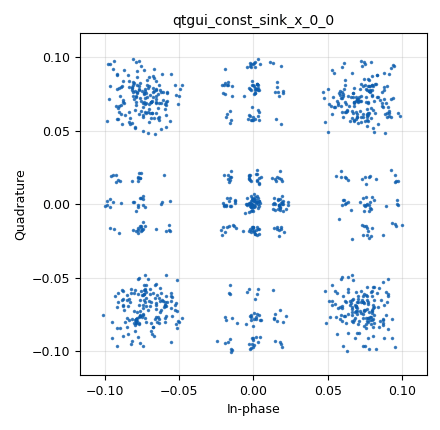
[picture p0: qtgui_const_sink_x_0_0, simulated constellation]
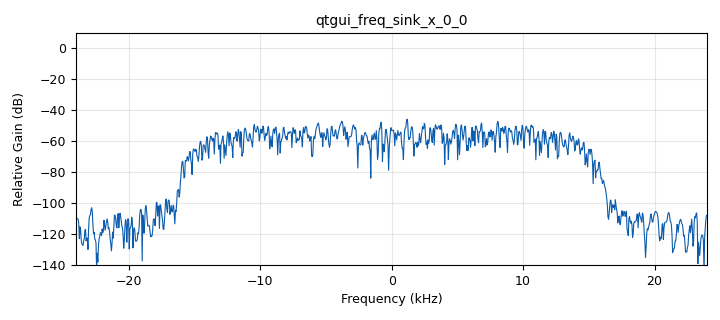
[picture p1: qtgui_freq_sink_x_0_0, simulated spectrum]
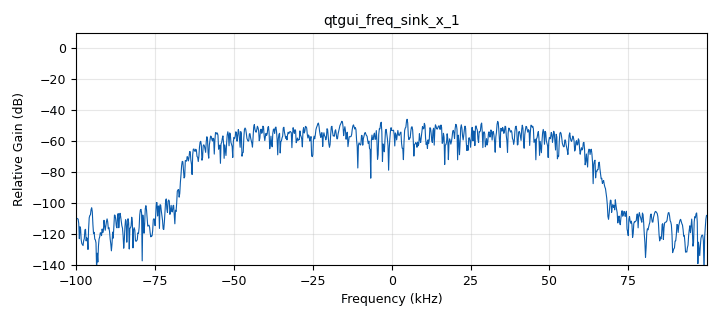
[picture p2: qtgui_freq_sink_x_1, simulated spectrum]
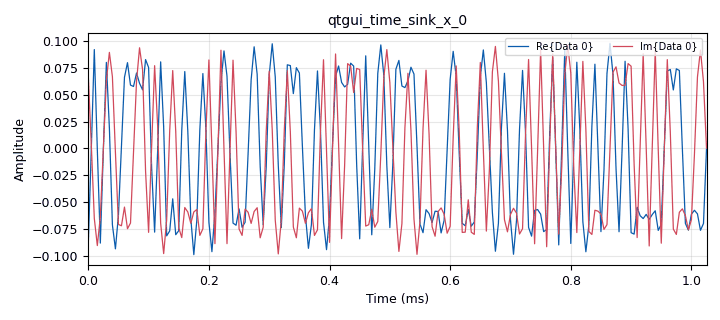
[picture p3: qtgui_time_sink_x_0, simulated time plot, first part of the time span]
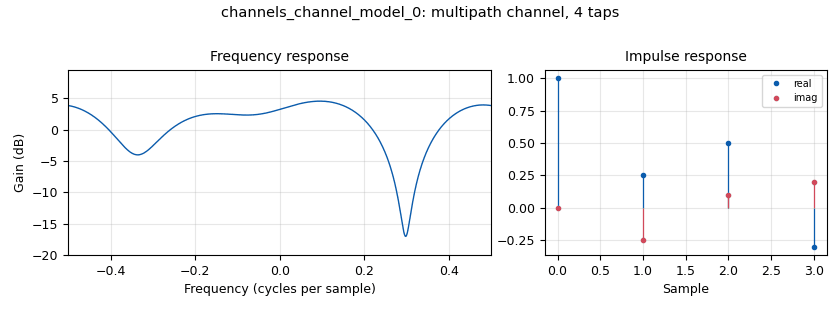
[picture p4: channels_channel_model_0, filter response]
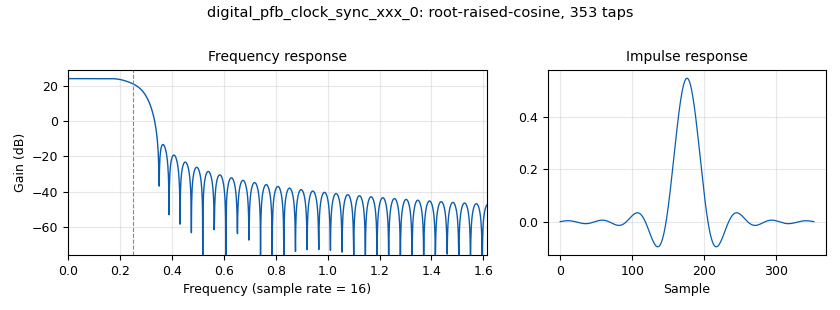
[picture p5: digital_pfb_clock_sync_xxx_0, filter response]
<?xml version='1.0' encoding='utf-8'?>
<?grc format='1' created='3.7.11'?>
<flow_graph>
<block>
<key>options</key>
<param><key>id</key><value>transmitter</value></param>
<param><key>generate_options</key><value>qt_gui</value></param>
<param><key>qt_qss_theme</key><value>/home/ubuntu/Desktop/10_2017/alt.qss</value></param>
</block>
<block>
<key>variable_qtgui_chooser</key>
<param><key>id</key><value>TxAmplitude</value></param>
<param><key>value</key><value>0.1</value></param>
<param><key>gui_hint</key><value>1,0,1,1</value></param>
<param><key>label0</key><value>0.1</value></param>
<param><key>label1</key><value>0.05</value></param>
<param><key>label2</key><value>0.025</value></param>
<param><key>label3</key><value>0.0125</value></param>
<param><key>label4</key><value>0.00625</value></param>
<param><key>label</key><value>TxAmplitude</value></param>
<param><key>num_opts</key><value>5</value></param>
<param><key>option0</key><value>0.1</value></param>
<param><key>option1</key><value>0.05</value></param>
<param><key>option2</key><value>0.025</value></param>
<param><key>option3</key><value>0.0125</value></param>
<param><key>option4</key><value>0.00625</value></param>
<param><key>type</key><value>real</value></param>
</block>
<block>
<key>variable_qtgui_range</key>
<param><key>id</key><value>TxAmplitude</value></param>
<param><key>value</key><value>1</value></param>
<param><key>_enabled</key><value>0</value></param>
<param><key>label</key><value>TxAmplitude</value></param>
<param><key>orient</key><value>Qt.Horizontal</value></param>
<param><key>start</key><value>.1</value></param>
<param><key>step</key><value>.1</value></param>
<param><key>stop</key><value>1</value></param>
</block>
<block>
<key>variable_qtgui_range</key>
<param><key>id</key><value>anti_clipping</value></param>
<param><key>value</key><value>1</value></param>
<param><key>label</key><value>anti_clipping</value></param>
<param><key>orient</key><value>Qt.Horizontal</value></param>
<param><key>start</key><value>0</value></param>
<param><key>step</key><value>.1</value></param>
<param><key>stop</key><value>1</value></param>
</block>
<block>
<key>variable_qtgui_range</key>
<param><key>id</key><value>eq_gain</value></param>
<param><key>value</key><value>0.01</value></param>
<param><key>gui_hint</key><value>controls@1: 2,1,1,1</value></param>
<param><key>label</key><value>Equalizer: rate</value></param>
<param><key>orient</key><value>Qt.Horizontal</value></param>
<param><key>start</key><value>0.0</value></param>
<param><key>step</key><value>0.001</value></param>
<param><key>stop</key><value>0.1</value></param>
<param><key>widget</key><value>slider</value></param>
</block>
<block>
<key>variable</key>
<param><key>id</key><value>excess_bw</value></param>
<param><key>value</key><value>0.35</value></param>
</block>
<block>
<key>variable_qtgui_range</key>
<param><key>id</key><value>freq_offset</value></param>
<param><key>value</key><value>0</value></param>
<param><key>gui_hint</key><value>controls@0: 2,1,1,1</value></param>
<param><key>label</key><value>Frequency Offset</value></param>
<param><key>orient</key><value>Qt.Horizontal</value></param>
<param><key>start</key><value>-0.1</value></param>
<param><key>step</key><value>0.001</value></param>
<param><key>stop</key><value>0.1</value></param>
</block>
<block>
<key>variable_function_probe</key>
<param><key>id</key><value>function_probe</value></param>
<param><key>block_id</key><value>probe_signal</value></param>
<param><key>function_name</key><value>level</value></param>
<param><key>value</key><value>0</value></param>
<param><key>poll_rate</key><value>10</value></param>
</block>
<block>
<key>variable</key>
<param><key>id</key><value>nfilts</value></param>
<param><key>value</key><value>16</value></param>
</block>
<block>
<key>variable_qtgui_range</key>
<param><key>id</key><value>noise_volt</value></param>
<param><key>value</key><value>0.0001</value></param>
<param><key>gui_hint</key><value>controls@0: 2,0,1,1</value></param>
<param><key>label</key><value>Noise Voltage</value></param>
<param><key>orient</key><value>Qt.Vertical</value></param>
<param><key>start</key><value>0</value></param>
<param><key>step</key><value>0.01</value></param>
<param><key>stop</key><value>1</value></param>
</block>
<block>
<key>variable</key>
<param><key>id</key><value>order</value></param>
<param><key>value</key><value>4</value></param>
</block>
<block>
<key>variable_qtgui_range</key>
<param><key>id</key><value>phase_bw</value></param>
<param><key>value</key><value>6.28/100.0</value></param>
<param><key>gui_hint</key><value>controls@1: 2,2,1,1</value></param>
<param><key>label</key><value>Phase: Bandwidth</value></param>
<param><key>orient</key><value>Qt.Horizontal</value></param>
<param><key>start</key><value>0.0</value></param>
<param><key>step</key><value>0.01</value></param>
<param><key>stop</key><value>1.0</value></param>
<param><key>widget</key><value>slider</value></param>
</block>
<block>
<key>variable_constellation_rect</key>
<param><key>id</key><value>qpsk</value></param>
<param><key>const_points</key><value>[0.707+0.707j, -0.707+0.707j, -0.707-0.707j, 0.707-0.707j]</value></param>
<param><key>imag_sect</key><value>2</value></param>
<param><key>real_sect</key><value>2</value></param>
<param><key>rot_sym</key><value>4</value></param>
<param><key>sym_map</key><value>[0,1,2,3]</value></param>
<param><key>w_imag_sect</key><value>2</value></param>
<param><key>w_real_sect</key><value>2</value></param>
</block>
<block>
<key>variable_constellation_rect</key>
<param><key>id</key><value>qpsk_0</value></param>
<param><key>const_points</key><value>[1+0.0j, -1+0.0j, 0-1j, 0+1j]</value></param>
<param><key>imag_sect</key><value>2</value></param>
<param><key>real_sect</key><value>2</value></param>
<param><key>rot_sym</key><value>4</value></param>
<param><key>sym_map</key><value>[0,1,2,3]</value></param>
<param><key>w_imag_sect</key><value>2</value></param>
<param><key>w_real_sect</key><value>2</value></param>
</block>
<block>
<key>variable</key>
<param><key>id</key><value>rrc_taps</value></param>
<param><key>value</key><value>firdes.root_raised_cosine(nfilts, nfilts, 1.0/float(sps), 0.35, 11*sps*nfilts)</value></param>
</block>
<block>
<key>variable</key>
<param><key>id</key><value>samp_rate</value></param>
<param><key>value</key><value>200000</value></param>
</block>
<block>
<key>variable</key>
<param><key>id</key><value>sps</value></param>
<param><key>value</key><value>2</value></param>
</block>
<block>
<key>variable</key>
<param><key>id</key><value>taps</value></param>
<param><key>value</key><value>[1.0, 0.25-0.25j, 0.50 + 0.10j, -0.3 + 0.2j]</value></param>
</block>
<block>
<key>variable_qtgui_range</key>
<param><key>id</key><value>time_offset</value></param>
<param><key>value</key><value>1.00</value></param>
<param><key>gui_hint</key><value>controls@0: 2,2,1,1</value></param>
<param><key>label</key><value>Timing Offset</value></param>
<param><key>orient</key><value>Qt.Horizontal</value></param>
<param><key>start</key><value>0.899</value></param>
<param><key>step</key><value>0.0001</value></param>
<param><key>stop</key><value>1.101</value></param>
</block>
<block>
<key>variable_qtgui_range</key>
<param><key>id</key><value>timing_loop_bw</value></param>
<param><key>value</key><value>6.28/100.0</value></param>
<param><key>gui_hint</key><value>controls@1: 2,0,1,1</value></param>
<param><key>label</key><value>Time: BW</value></param>
<param><key>orient</key><value>Qt.Horizontal</value></param>
<param><key>start</key><value>0.0</value></param>
<param><key>step</key><value>0.01</value></param>
<param><key>stop</key><value>0.2</value></param>
<param><key>widget</key><value>slider</value></param>
</block>
<block>
<key>MPOWER_power_ff</key>
<param><key>id</key><value>MPOWER_power_ff_0</value></param>
<param><key>m</key><value>0.125</value></param>
</block>
<block>
<key>analog_const_source_x</key>
<param><key>id</key><value>analog_const_source_x_0</value></param>
<param><key>const</key><value>10000</value></param>
<param><key>type</key><value>complex</value></param>
</block>
<block>
<key>analog_const_source_x</key>
<param><key>id</key><value>analog_const_source_x_1</value></param>
<param><key>const</key><value>10000</value></param>
<param><key>type</key><value>float</value></param>
</block>
<block>
<key>analog_const_source_x</key>
<param><key>id</key><value>analog_const_source_x_1_0</value></param>
<param><key>const</key><value>10000</value></param>
<param><key>type</key><value>float</value></param>
</block>
<block>
<key>analog_random_source_x</key>
<param><key>id</key><value>analog_random_source_x_0</value></param>
<param><key>max</key><value>256</value></param>
<param><key>min</key><value>0</value></param>
<param><key>num_samps</key><value>1000</value></param>
<param><key>type</key><value>byte</value></param>
<param><key>repeat</key><value>True</value></param>
</block>
<block>
<key>audio_sink</key>
<param><key>id</key><value>audio_sink_1</value></param>
<param><key>_enabled</key><value>0</value></param>
<param><key>samp_rate</key><value>48000</value></param>
</block>
<block>
<key>blocks_add_xx</key>
<param><key>id</key><value>blocks_add_xx_0</value></param>
<param><key>type</key><value>float</value></param>
</block>
<block>
<key>blocks_complex_to_mag</key>
<param><key>id</key><value>blocks_complex_to_mag_0</value></param>
</block>
<block>
<key>blocks_complex_to_mag</key>
<param><key>id</key><value>blocks_complex_to_mag_1</value></param>
</block>
<block>
<key>blocks_complex_to_magphase</key>
<param><key>id</key><value>blocks_complex_to_magphase_0</value></param>
</block>
<block>
<key>blocks_divide_xx</key>
<param><key>id</key><value>blocks_divide_xx_0</value></param>
<param><key>type</key><value>complex</value></param>
</block>
<block>
<key>blocks_divide_xx</key>
<param><key>id</key><value>blocks_divide_xx_1</value></param>
<param><key>type</key><value>float</value></param>
</block>
<block>
<key>blocks_divide_xx</key>
<param><key>id</key><value>blocks_divide_xx_1_0</value></param>
<param><key>type</key><value>float</value></param>
</block>
<block>
<key>blocks_divide_xx</key>
<param><key>id</key><value>blocks_divide_xx_2</value></param>
<param><key>type</key><value>float</value></param>
</block>
<block>
<key>blocks_magphase_to_complex</key>
<param><key>id</key><value>blocks_magphase_to_complex_0</value></param>
</block>
<block>
<key>blocks_message_debug</key>
<param><key>id</key><value>blocks_message_debug_0</value></param>
<param><key>_enabled</key><value>0</value></param>
</block>
<block>
<key>blocks_moving_average_xx</key>
<param><key>id</key><value>blocks_moving_average_xx_0</value></param>
<param><key>length</key><value>10000</value></param>
<param><key>max_iter</key><value>4000</value></param>
<param><key>scale</key><value>1</value></param>
<param><key>type</key><value>complex</value></param>
</block>
<block>
<key>blocks_moving_average_xx</key>
<param><key>id</key><value>blocks_moving_average_xx_1</value></param>
<param><key>length</key><value>10000</value></param>
<param><key>max_iter</key><value>4000</value></param>
<param><key>scale</key><value>1</value></param>
<param><key>type</key><value>float</value></param>
</block>
<block>
<key>blocks_moving_average_xx</key>
<param><key>id</key><value>blocks_moving_average_xx_1_0</value></param>
<param><key>length</key><value>10000</value></param>
<param><key>max_iter</key><value>4000</value></param>
<param><key>scale</key><value>1</value></param>
<param><key>type</key><value>float</value></param>
</block>
<block>
<key>blocks_multiply_const_vxx</key>
<param><key>id</key><value>blocks_multiply_const_vxx_0</value></param>
<param><key>const</key><value>TxAmplitude</value></param>
<param><key>type</key><value>complex</value></param>
</block>
<block>
<key>blocks_multiply_const_vxx</key>
<param><key>id</key><value>blocks_multiply_const_vxx_0_0</value></param>
<param><key>const</key><value>0.125</value></param>
<param><key>type</key><value>float</value></param>
</block>
<block>
<key>blocks_multiply_const_vxx</key>
<param><key>id</key><value>blocks_multiply_const_vxx_0_1</value></param>
<param><key>const</key><value>0.9</value></param>
<param><key>type</key><value>complex</value></param>
</block>
<block>
<key>blocks_nlog10_ff</key>
<param><key>id</key><value>blocks_nlog10_ff_0</value></param>
<param><key>k</key><value>0</value></param>
<param><key>n</key><value>20</value></param>
</block>
<block>
<key>blocks_repack_bits_bb</key>
<param><key>id</key><value>blocks_repack_bits_bb_0</value></param>
<param><key>k</key><value>2</value></param>
<param><key>l</key><value>8</value></param>
<param><key>endianness</key><value>gr.GR_LSB_FIRST</value></param>
</block>
<block>
<key>blocks_sub_xx</key>
<param><key>id</key><value>blocks_sub_xx_0</value></param>
<param><key>type</key><value>complex</value></param>
</block>
<block>
<key>blocks_tag_debug</key>
<param><key>id</key><value>blocks_tag_debug_0</value></param>
<param><key>type</key><value>complex</value></param>
<param><key>filter</key><value>"snr"</value></param>
<param><key>name</key><value>svr</value></param>
</block>
<block>
<key>blocks_tag_debug</key>
<param><key>id</key><value>blocks_tag_debug_0_0</value></param>
<param><key>type</key><value>complex</value></param>
<param><key>filter</key><value>"snr"</value></param>
<param><key>name</key><value>2m4m</value></param>
</block>
<block>
<key>blocks_tag_debug</key>
<param><key>id</key><value>blocks_tag_debug_0_1</value></param>
<param><key>type</key><value>complex</value></param>
<param><key>filter</key><value>"snr"</value></param>
<param><key>name</key><value>simple</value></param>
</block>
<block>
<key>blocks_tag_debug</key>
<param><key>id</key><value>blocks_tag_debug_1</value></param>
<param><key>type</key><value>float</value></param>
<param><key>filter</key><value>"snr"</value></param>
<param><key>name</key><value>MPMR</value></param>
</block>
<block>
<key>blocks_tags_strobe</key>
<param><key>id</key><value>blocks_tags_strobe_0</value></param>
<param><key>key</key><value>pmt.intern("snr")</value></param>
<param><key>nsamps</key><value>10000</value></param>
<param><key>type</key><value>float</value></param>
<param><key>value</key><value>pmt.to_pmt(function_probe)</value></param>
</block>
<block>
<key>blocks_wavfile_source</key>
<param><key>id</key><value>blocks_wavfile_source_0</value></param>
<param><key>_enabled</key><value>0</value></param>
<param><key>file</key><value>/home/ubuntu/Desktop/10_2017/snr comp/08 my heart will go on - www.hotme 1.wav</value></param>
<param><key>repeat</key><value>True</value></param>
</block>
<block>
<key>channels_channel_model</key>
<param><key>id</key><value>channels_channel_model_0</value></param>
<param><key>epsilon</key><value>time_offset</value></param>
<param><key>freq_offset</key><value>freq_offset</value></param>
<param><key>noise_voltage</key><value>noise_volt</value></param>
<param><key>seed</key><value>0</value></param>
<param><key>taps</key><value>taps</value></param>
</block>
<block>
<key>qtgui_tab_widget</key>
<param><key>id</key><value>controls</value></param>
<param><key>gui_hint</key><value>3,0,1,2</value></param>
<param><key>label0</key><value>Channel</value></param>
<param><key>label1</key><value>Receiver</value></param>
<param><key>num_tabs</key><value>2</value></param>
</block>
<block>
<key>digital_cma_equalizer_cc</key>
<param><key>id</key><value>digital_cma_equalizer_cc_0</value></param>
<param><key>mu</key><value>eq_gain</value></param>
<param><key>modulus</key><value>1</value></param>
<param><key>num_taps</key><value>15</value></param>
<param><key>sps</key><value>2</value></param>
</block>
<block>
<key>digital_constellation_modulator</key>
<param><key>id</key><value>digital_constellation_modulator_0</value></param>
<param><key>constellation</key><value>qpsk</value></param>
<param><key>differential</key><value>True</value></param>
<param><key>excess_bw</key><value>excess_bw</value></param>
<param><key>samples_per_symbol</key><value>sps</value></param>
</block>
<block>
<key>digital_costas_loop_cc</key>
<param><key>id</key><value>digital_costas_loop_cc_0</value></param>
<param><key>w</key><value>phase_bw</value></param>
<param><key>order</key><value>order</value></param>
</block>
<block>
<key>digital_diff_decoder_bb</key>
<param><key>id</key><value>digital_diff_decoder_bb_0</value></param>
<param><key>modulus</key><value>4</value></param>
</block>
<block>
<key>digital_map_bb</key>
<param><key>id</key><value>digital_map_bb_0</value></param>
<param><key>map</key><value>[0,1,3,2]</value></param>
</block>
<block>
<key>digital_mpsk_snr_est_cc</key>
<param><key>id</key><value>digital_mpsk_snr_est_cc_0_0</value></param>
<param><key>alpha</key><value>0.001</value></param>
<param><key>tag_nsamples</key><value>10000</value></param>
<param><key>type</key><value>0</value></param>
</block>
<block>
<key>digital_mpsk_snr_est_cc</key>
<param><key>id</key><value>digital_mpsk_snr_est_cc_0_0_0</value></param>
<param><key>alpha</key><value>0.001</value></param>
<param><key>tag_nsamples</key><value>10000</value></param>
<param><key>type</key><value>2</value></param>
</block>
<block>
<key>digital_mpsk_snr_est_cc</key>
<param><key>id</key><value>digital_mpsk_snr_est_cc_0_1</value></param>
<param><key>alpha</key><value>0.001</value></param>
<param><key>tag_nsamples</key><value>10000</value></param>
<param><key>type</key><value>3</value></param>
</block>
<block>
<key>digital_pfb_clock_sync_xxx</key>
<param><key>id</key><value>digital_pfb_clock_sync_xxx_0</value></param>
<param><key>filter_size</key><value>nfilts</value></param>
<param><key>init_phase</key><value>nfilts/2</value></param>
<param><key>loop_bw</key><value>timing_loop_bw</value></param>
<param><key>max_dev</key><value>1.5</value></param>
<param><key>osps</key><value>2</value></param>
<param><key>sps</key><value>2</value></param>
<param><key>taps</key><value>rrc_taps</value></param>
<param><key>type</key><value>ccf</value></param>
</block>
<block>
<key>digital_probe_mpsk_snr_est_c</key>
<param><key>id</key><value>digital_probe_mpsk_snr_est_c_0</value></param>
<param><key>_enabled</key><value>0</value></param>
<param><key>alpha</key><value>0.001</value></param>
<param><key>msg_nsamples</key><value>100000</value></param>
<param><key>type</key><value>2</value></param>
</block>
<block>
<key>qtgui_tab_widget</key>
<param><key>id</key><value>draw</value></param>
<param><key>gui_hint</key><value>0,0,1,1</value></param>
<param><key>label0</key><value>Rx-Constellation</value></param>
<param><key>label1</key><value>Tx-symbols</value></param>
<param><key>label2</key><value>TX-spectrum</value></param>
<param><key>label3</key><value>TX-constellation</value></param>
<param><key>label4</key><value>Tx-Rx spectrum</value></param>
<param><key>label5</key><value>Rx-symbols-before_mapping</value></param>
<param><key>num_tabs</key><value>6</value></param>
</block>
<block>
<key>pow_cc</key>
<param><key>id</key><value>pow_cc_0</value></param>
<param><key>div_exp</key><value>0.0</value></param>
<param><key>exponent</key><value>8.0</value></param>
</block>
<block>
<key>blocks_probe_signal_x</key>
<param><key>id</key><value>probe_signal</value></param>
<param><key>type</key><value>float</value></param>
</block>
<block>
<key>qtgui_const_sink_x</key>
<param><key>id</key><value>qtgui_const_sink_x_0</value></param>
<param><key>gui_hint</key><value>draw@0: 0,0,1,1</value></param>
<param><key>label1</key><value>Received constellation</value></param>
<param><key>label2</key><value>Mth power Mth root </value></param>
<param><key>color3</key><value>"red"</value></param>
<param><key>label3</key><value>Average</value></param>
<param><key>nconnections</key><value>3</value></param>
<param><key>size</key><value>1024</value></param>
<param><key>type</key><value>complex</value></param>
<param><key>xmax</key><value>1.3</value></param>
<param><key>xmin</key><value>-1.3</value></param>
<param><key>ymax</key><value>1.3</value></param>
<param><key>ymin</key><value>-1.3</value></param>
</block>
<block>
<key>qtgui_const_sink_x</key>
<param><key>id</key><value>qtgui_const_sink_x_0_0</value></param>
<param><key>autoscale</key><value>True</value></param>
<param><key>gui_hint</key><value>draw@3: 0,0,1,1</value></param>
<param><key>size</key><value>1024</value></param>
<param><key>type</key><value>complex</value></param>
</block>
<block>
<key>qtgui_freq_sink_x</key>
<param><key>id</key><value>qtgui_freq_sink_x_0_0</value></param>
<param><key>bw</key><value>48000</value></param>
<param><key>fc</key><value>0</value></param>
<param><key>fftsize</key><value>1024</value></param>
<param><key>gui_hint</key><value>draw@2: 0,0,1,1</value></param>
<param><key>showports</key><value>True</value></param>
<param><key>type</key><value>complex</value></param>
<param><key>wintype</key><value>firdes.WIN_BLACKMAN_hARRIS</value></param>
</block>
<block>
<key>qtgui_freq_sink_x</key>
<param><key>id</key><value>qtgui_freq_sink_x_0_0_0</value></param>
<param><key>bw</key><value>48000</value></param>
<param><key>fc</key><value>0</value></param>
<param><key>fftsize</key><value>1024</value></param>
<param><key>gui_hint</key><value>draw@4: 0,0,1,1</value></param>
<param><key>showports</key><value>True</value></param>
<param><key>type</key><value>float</value></param>
<param><key>wintype</key><value>firdes.WIN_BLACKMAN_hARRIS</value></param>
</block>
<block>
<key>qtgui_freq_sink_x</key>
<param><key>id</key><value>qtgui_freq_sink_x_1</value></param>
<param><key>bw</key><value>samp_rate</value></param>
<param><key>fc</key><value>0</value></param>
<param><key>fftsize</key><value>1024</value></param>
<param><key>gui_hint</key><value>0,1,1,1</value></param>
<param><key>grid</key><value>True</value></param>
<param><key>showports</key><value>True</value></param>
<param><key>type</key><value>complex</value></param>
<param><key>wintype</key><value>firdes.WIN_BLACKMAN_hARRIS</value></param>
</block>
<block>
<key>qtgui_number_sink</key>
<param><key>id</key><value>qtgui_number_sink_0</value></param>
<param><key>_enabled</key><value>0</value></param>
<param><key>gui_hint</key><value>1,0,1,1</value></param>
<param><key>graph_type</key><value>qtgui.NUM_GRAPH_HORIZ</value></param>
<param><key>type</key><value>float</value></param>
</block>
<block>
<key>qtgui_number_sink</key>
<param><key>id</key><value>qtgui_number_sink_0_0</value></param>
<param><key>gui_hint</key><value>2,0,1,1</value></param>
<param><key>graph_type</key><value>qtgui.NUM_GRAPH_NONE</value></param>
<param><key>type</key><value>float</value></param>
<param><key>label1</key><value>Estimated SNR using Mth power Mth root</value></param>
<param><key>unit1</key><value>dB</value></param>
</block>
<block>
<key>qtgui_time_sink_x</key>
<param><key>id</key><value>qtgui_time_sink_x_0</value></param>
<param><key>autoscale</key><value>True</value></param>
<param><key>ctrlpanel</key><value>True</value></param>
<param><key>gui_hint</key><value>draw@1: 0,0,1,1</value></param>
<param><key>color1</key><value>"blue"</value></param>
<param><key>label1</key><value></value></param>
<param><key>color2</key><value>"red"</value></param>
<param><key>label2</key><value></value></param>
<param><key>size</key><value>5000</value></param>
<param><key>srate</key><value>samp_rate</value></param>
<param><key>type</key><value>complex</value></param>
</block>
<block>
<key>qtgui_time_sink_x</key>
<param><key>id</key><value>qtgui_time_sink_x_0_0</value></param>
<param><key>autoscale</key><value>True</value></param>
<param><key>ctrlpanel</key><value>True</value></param>
<param><key>gui_hint</key><value>draw@5: 0,0,1,1</value></param>
<param><key>color1</key><value>"red"</value></param>
<param><key>label1</key><value>Rx</value></param>
<param><key>size</key><value>1024</value></param>
<param><key>srate</key><value>48000</value></param>
<param><key>type</key><value>float</value></param>
</block>
<block>
<key>qtgui_time_sink_x</key>
<param><key>id</key><value>qtgui_time_sink_x_1</value></param>
<param><key>_enabled</key><value>0</value></param>
<param><key>color1</key><value>"blue"</value></param>
<param><key>label1</key><value></value></param>
<param><key>color2</key><value>"red"</value></param>
<param><key>label2</key><value></value></param>
<param><key>size</key><value>1024</value></param>
<param><key>srate</key><value>samp_rate</value></param>
<param><key>type</key><value>complex</value></param>
</block>
<block>
<key>rational_resampler_xxx</key>
<param><key>id</key><value>rational_resampler_xxx_0</value></param>
<param><key>decim</key><value>48</value></param>
<param><key>_enabled</key><value>0</value></param>
<param><key>interp</key><value>samp_rate/1000</value></param>
<param><key>taps</key><value></value></param>
<param><key>type</key><value>fff</value></param>
</block>
<block>
<key>rational_resampler_xxx</key>
<param><key>id</key><value>rational_resampler_xxx_0_0</value></param>
<param><key>decim</key><value>samp_rate/1000</value></param>
<param><key>interp</key><value>48</value></param>
<param><key>taps</key><value></value></param>
<param><key>type</key><value>fff</value></param>
</block>
<block>
<key>tutorial_my_qpsk_demod_cb</key>
<param><key>id</key><value>tutorial_my_qpsk_demod_cb_1</value></param>
<param><key>gray_code</key><value>True</value></param>
</block>
<block>
<key>uhd_usrp_sink</key>
<param><key>id</key><value>uhd_usrp_sink_0</value></param>
<param><key>ant0</key><value>TX/RX</value></param>
<param><key>center_freq0</key><value>2452000000.0</value></param>
<param><key>norm_gain0</key><value>False</value></param>
<param><key>gain0</key><value>0</value></param>
<param><key>clock_rate</key><value>0.0</value></param>
<param><key>dev_addr</key><value>addr0=192.168.10.2</value></param>
<param><key>dev_args</key><value>""</value></param>
<param><key>_enabled</key><value>0</value></param>
<param><key>type</key><value>fc32</value></param>
<param><key>samp_rate</key><value>samp_rate</value></param>
<param><key>hide_cmd_port</key><value>False</value></param>
<param><key>hide_lo_controls</key><value>True</value></param>
<param><key>sync</key><value></value></param>
<param><key>len_tag_name</key><value></value></param>
</block>
<block>
<key>uhd_usrp_source</key>
<param><key>id</key><value>uhd_usrp_source_0</value></param>
<param><key>ant0</key><value>RX2</value></param>
<param><key>center_freq0</key><value>2452000000.0</value></param>
<param><key>dc_offs_enb0</key><value>""</value></param>
<param><key>iq_imbal_enb0</key><value>""</value></param>
<param><key>norm_gain0</key><value>False</value></param>
<param><key>gain0</key><value>10</value></param>
<param><key>clock_rate</key><value>0.0</value></param>
<param><key>dev_addr</key><value>addr0=192.168.10.2</value></param>
<param><key>dev_args</key><value>""</value></param>
<param><key>_enabled</key><value>0</value></param>
<param><key>type</key><value>fc32</value></param>
<param><key>samp_rate</key><value>samp_rate</value></param>
<param><key>hide_cmd_port</key><value>False</value></param>
<param><key>hide_lo_controls</key><value>True</value></param>
<param><key>sync</key><value></value></param>
</block>
<block>
<key>vocoder_cvsd_decode_bf</key>
<param><key>id</key><value>vocoder_cvsd_decode_bf_0</value></param>
<param><key>bw</key><value>0.5</value></param>
<param><key>resample</key><value>1</value></param>
</block>
<block>
<key>vocoder_cvsd_encode_fb</key>
<param><key>id</key><value>vocoder_cvsd_encode_fb_0</value></param>
<param><key>_enabled</key><value>0</value></param>
<param><key>bw</key><value>0.5</value></param>
<param><key>resample</key><value>1</value></param>
</block>
<connection><source_block_id>MPOWER_power_ff_0</source_block_id><sink_block_id>blocks_magphase_to_complex_0</sink_block_id><source_key>0</source_key><sink_key>0</sink_key></connection>
<connection><source_block_id>analog_const_source_x_0</source_block_id><sink_block_id>blocks_divide_xx_0</sink_block_id><source_key>0</source_key><sink_key>1</sink_key></connection>
<connection><source_block_id>analog_const_source_x_1</source_block_id><sink_block_id>blocks_divide_xx_1</sink_block_id><source_key>0</source_key><sink_key>1</sink_key></connection>
<connection><source_block_id>analog_const_source_x_1_0</source_block_id><sink_block_id>blocks_divide_xx_1_0</sink_block_id><source_key>0</source_key><sink_key>1</sink_key></connection>
<connection><source_block_id>analog_random_source_x_0</source_block_id><sink_block_id>digital_constellation_modulator_0</sink_block_id><source_key>0</source_key><sink_key>0</sink_key></connection>
<connection><source_block_id>blocks_add_xx_0</source_block_id><sink_block_id>blocks_tag_debug_1</sink_block_id><source_key>0</source_key><sink_key>0</sink_key></connection>
<connection><source_block_id>blocks_complex_to_mag_0</source_block_id><sink_block_id>blocks_moving_average_xx_1</sink_block_id><source_key>0</source_key><sink_key>0</sink_key></connection>
<connection><source_block_id>blocks_complex_to_mag_1</source_block_id><sink_block_id>blocks_divide_xx_2</sink_block_id><source_key>0</source_key><sink_key>0</sink_key></connection>
<connection><source_block_id>blocks_complex_to_magphase_0</source_block_id><sink_block_id>MPOWER_power_ff_0</sink_block_id><source_key>0</source_key><sink_key>0</sink_key></connection>
<connection><source_block_id>blocks_complex_to_magphase_0</source_block_id><sink_block_id>blocks_multiply_const_vxx_0_0</sink_block_id><source_key>1</source_key><sink_key>0</sink_key></connection>
<connection><source_block_id>blocks_divide_xx_0</source_block_id><sink_block_id>blocks_complex_to_mag_1</sink_block_id><source_key>0</source_key><sink_key>0</sink_key></connection>
<connection><source_block_id>blocks_divide_xx_0</source_block_id><sink_block_id>blocks_sub_xx_0</sink_block_id><source_key>0</source_key><sink_key>1</sink_key></connection>
<connection><source_block_id>blocks_divide_xx_0</source_block_id><sink_block_id>qtgui_const_sink_x_0</sink_block_id><source_key>0</source_key><sink_key>2</sink_key></connection>
<connection><source_block_id>blocks_divide_xx_1</source_block_id><sink_block_id>blocks_divide_xx_2</sink_block_id><source_key>0</source_key><sink_key>1</sink_key></connection>
<connection><source_block_id>blocks_divide_xx_1_0</source_block_id><sink_block_id>blocks_add_xx_0</sink_block_id><source_key>0</source_key><sink_key>0</sink_key></connection>
<connection><source_block_id>blocks_divide_xx_1_0</source_block_id><sink_block_id>probe_signal</sink_block_id><source_key>0</source_key><sink_key>0</sink_key></connection>
<connection><source_block_id>blocks_divide_xx_1_0</source_block_id><sink_block_id>qtgui_number_sink_0</sink_block_id><source_key>0</source_key><sink_key>0</sink_key></connection>
<connection><source_block_id>blocks_divide_xx_1_0</source_block_id><sink_block_id>qtgui_number_sink_0_0</sink_block_id><source_key>0</source_key><sink_key>0</sink_key></connection>
<connection><source_block_id>blocks_divide_xx_2</source_block_id><sink_block_id>blocks_nlog10_ff_0</sink_block_id><source_key>0</source_key><sink_key>0</sink_key></connection>
<connection><source_block_id>blocks_magphase_to_complex_0</source_block_id><sink_block_id>blocks_moving_average_xx_0</sink_block_id><source_key>0</source_key><sink_key>0</sink_key></connection>
<connection><source_block_id>blocks_magphase_to_complex_0</source_block_id><sink_block_id>blocks_sub_xx_0</sink_block_id><source_key>0</source_key><sink_key>0</sink_key></connection>
<connection><source_block_id>blocks_magphase_to_complex_0</source_block_id><sink_block_id>qtgui_const_sink_x_0</sink_block_id><source_key>0</source_key><sink_key>1</sink_key></connection>
<connection><source_block_id>blocks_moving_average_xx_0</source_block_id><sink_block_id>blocks_divide_xx_0</sink_block_id><source_key>0</source_key><sink_key>0</sink_key></connection>
<connection><source_block_id>blocks_moving_average_xx_1</source_block_id><sink_block_id>blocks_divide_xx_1</sink_block_id><source_key>0</source_key><sink_key>0</sink_key></connection>
<connection><source_block_id>blocks_moving_average_xx_1_0</source_block_id><sink_block_id>blocks_divide_xx_1_0</sink_block_id><source_key>0</source_key><sink_key>0</sink_key></connection>
<connection><source_block_id>blocks_multiply_const_vxx_0</source_block_id><sink_block_id>channels_channel_model_0</sink_block_id><source_key>0</source_key><sink_key>0</sink_key></connection>
<connection><source_block_id>blocks_multiply_const_vxx_0</source_block_id><sink_block_id>qtgui_const_sink_x_0_0</sink_block_id><source_key>0</source_key><sink_key>0</sink_key></connection>
<connection><source_block_id>blocks_multiply_const_vxx_0</source_block_id><sink_block_id>qtgui_freq_sink_x_0_0</sink_block_id><source_key>0</source_key><sink_key>0</sink_key></connection>
<connection><source_block_id>blocks_multiply_const_vxx_0</source_block_id><sink_block_id>qtgui_freq_sink_x_1</sink_block_id><source_key>0</source_key><sink_key>0</sink_key></connection>
<connection><source_block_id>blocks_multiply_const_vxx_0</source_block_id><sink_block_id>qtgui_time_sink_x_0</sink_block_id><source_key>0</source_key><sink_key>0</sink_key></connection>
<connection><source_block_id>blocks_multiply_const_vxx_0</source_block_id><sink_block_id>uhd_usrp_sink_0</sink_block_id><source_key>0</source_key><sink_key>0</sink_key></connection>
<connection><source_block_id>blocks_multiply_const_vxx_0_0</source_block_id><sink_block_id>blocks_magphase_to_complex_0</sink_block_id><source_key>0</source_key><sink_key>1</sink_key></connection>
<connection><source_block_id>blocks_multiply_const_vxx_0_1</source_block_id><sink_block_id>blocks_multiply_const_vxx_0</sink_block_id><source_key>0</source_key><sink_key>0</sink_key></connection>
<connection><source_block_id>blocks_nlog10_ff_0</source_block_id><sink_block_id>blocks_moving_average_xx_1_0</sink_block_id><source_key>0</source_key><sink_key>0</sink_key></connection>
<connection><source_block_id>blocks_repack_bits_bb_0</source_block_id><sink_block_id>vocoder_cvsd_decode_bf_0</sink_block_id><source_key>0</source_key><sink_key>0</sink_key></connection>
<connection><source_block_id>blocks_sub_xx_0</source_block_id><sink_block_id>blocks_complex_to_mag_0</sink_block_id><source_key>0</source_key><sink_key>0</sink_key></connection>
<connection><source_block_id>blocks_tags_strobe_0</source_block_id><sink_block_id>blocks_add_xx_0</sink_block_id><source_key>0</source_key><sink_key>1</sink_key></connection>
<connection><source_block_id>blocks_wavfile_source_0</source_block_id><sink_block_id>rational_resampler_xxx_0</sink_block_id><source_key>0</source_key><sink_key>0</sink_key></connection>
<connection><source_block_id>channels_channel_model_0</source_block_id><sink_block_id>digital_pfb_clock_sync_xxx_0</sink_block_id><source_key>0</source_key><sink_key>0</sink_key></connection>
<connection><source_block_id>digital_cma_equalizer_cc_0</source_block_id><sink_block_id>digital_costas_loop_cc_0</sink_block_id><source_key>0</source_key><sink_key>0</sink_key></connection>
<connection><source_block_id>digital_cma_equalizer_cc_0</source_block_id><sink_block_id>digital_mpsk_snr_est_cc_0_0</sink_block_id><source_key>0</source_key><sink_key>0</sink_key></connection>
<connection><source_block_id>digital_cma_equalizer_cc_0</source_block_id><sink_block_id>digital_mpsk_snr_est_cc_0_0_0</sink_block_id><source_key>0</source_key><sink_key>0</sink_key></connection>
<connection><source_block_id>digital_cma_equalizer_cc_0</source_block_id><sink_block_id>digital_mpsk_snr_est_cc_0_1</sink_block_id><source_key>0</source_key><sink_key>0</sink_key></connection>
<connection><source_block_id>digital_cma_equalizer_cc_0</source_block_id><sink_block_id>digital_probe_mpsk_snr_est_c_0</sink_block_id><source_key>0</source_key><sink_key>0</sink_key></connection>
<connection><source_block_id>digital_constellation_modulator_0</source_block_id><sink_block_id>blocks_multiply_const_vxx_0_1</sink_block_id><source_key>0</source_key><sink_key>0</sink_key></connection>
<connection><source_block_id>digital_costas_loop_cc_0</source_block_id><sink_block_id>pow_cc_0</sink_block_id><source_key>0</source_key><sink_key>0</sink_key></connection>
<connection><source_block_id>digital_costas_loop_cc_0</source_block_id><sink_block_id>qtgui_const_sink_x_0</sink_block_id><source_key>0</source_key><sink_key>0</sink_key></connection>
<connection><source_block_id>digital_costas_loop_cc_0</source_block_id><sink_block_id>tutorial_my_qpsk_demod_cb_1</sink_block_id><source_key>0</source_key><sink_key>0</sink_key></connection>
<connection><source_block_id>digital_diff_decoder_bb_0</source_block_id><sink_block_id>blocks_repack_bits_bb_0</sink_block_id><source_key>0</source_key><sink_key>0</sink_key></connection>
<connection><source_block_id>digital_map_bb_0</source_block_id><sink_block_id>digital_diff_decoder_bb_0</sink_block_id><source_key>0</source_key><sink_key>0</sink_key></connection>
<connection><source_block_id>digital_mpsk_snr_est_cc_0_0</source_block_id><sink_block_id>blocks_tag_debug_0_1</sink_block_id><source_key>0</source_key><sink_key>0</sink_key></connection>
<connection><source_block_id>digital_mpsk_snr_est_cc_0_0_0</source_block_id><sink_block_id>blocks_tag_debug_0_0</sink_block_id><source_key>0</source_key><sink_key>0</sink_key></connection>
<connection><source_block_id>digital_mpsk_snr_est_cc_0_1</source_block_id><sink_block_id>blocks_tag_debug_0</sink_block_id><source_key>0</source_key><sink_key>0</sink_key></connection>
<connection><source_block_id>digital_pfb_clock_sync_xxx_0</source_block_id><sink_block_id>digital_cma_equalizer_cc_0</sink_block_id><source_key>0</source_key><sink_key>0</sink_key></connection>
<connection><source_block_id>digital_probe_mpsk_snr_est_c_0</source_block_id><sink_block_id>blocks_message_debug_0</sink_block_id><source_key>snr</source_key><sink_key>print</sink_key></connection>
<connection><source_block_id>digital_probe_mpsk_snr_est_c_0</source_block_id><sink_block_id>qtgui_time_sink_x_1</sink_block_id><source_key>snr</source_key><sink_key>0</sink_key></connection>
<connection><source_block_id>pow_cc_0</source_block_id><sink_block_id>blocks_complex_to_magphase_0</sink_block_id><source_key>0</source_key><sink_key>0</sink_key></connection>
<connection><source_block_id>rational_resampler_xxx_0</source_block_id><sink_block_id>vocoder_cvsd_encode_fb_0</sink_block_id><source_key>0</source_key><sink_key>0</sink_key></connection>
<connection><source_block_id>rational_resampler_xxx_0_0</source_block_id><sink_block_id>audio_sink_1</sink_block_id><source_key>0</source_key><sink_key>0</sink_key></connection>
<connection><source_block_id>rational_resampler_xxx_0_0</source_block_id><sink_block_id>qtgui_freq_sink_x_0_0_0</sink_block_id><source_key>0</source_key><sink_key>0</sink_key></connection>
<connection><source_block_id>rational_resampler_xxx_0_0</source_block_id><sink_block_id>qtgui_time_sink_x_0_0</sink_block_id><source_key>0</source_key><sink_key>0</sink_key></connection>
<connection><source_block_id>tutorial_my_qpsk_demod_cb_1</source_block_id><sink_block_id>digital_map_bb_0</sink_block_id><source_key>0</source_key><sink_key>0</sink_key></connection>
<connection><source_block_id>uhd_usrp_source_0</source_block_id><sink_block_id>digital_pfb_clock_sync_xxx_0</sink_block_id><source_key>0</source_key><sink_key>0</sink_key></connection>
<connection><source_block_id>uhd_usrp_source_0</source_block_id><sink_block_id>qtgui_freq_sink_x_1</sink_block_id><source_key>0</source_key><sink_key>0</sink_key></connection>
<connection><source_block_id>vocoder_cvsd_decode_bf_0</source_block_id><sink_block_id>rational_resampler_xxx_0_0</sink_block_id><source_key>0</source_key><sink_key>0</sink_key></connection>
<connection><source_block_id>vocoder_cvsd_encode_fb_0</source_block_id><sink_block_id>digital_constellation_modulator_0</sink_block_id><source_key>0</source_key><sink_key>0</sink_key></connection>
</flow_graph>
